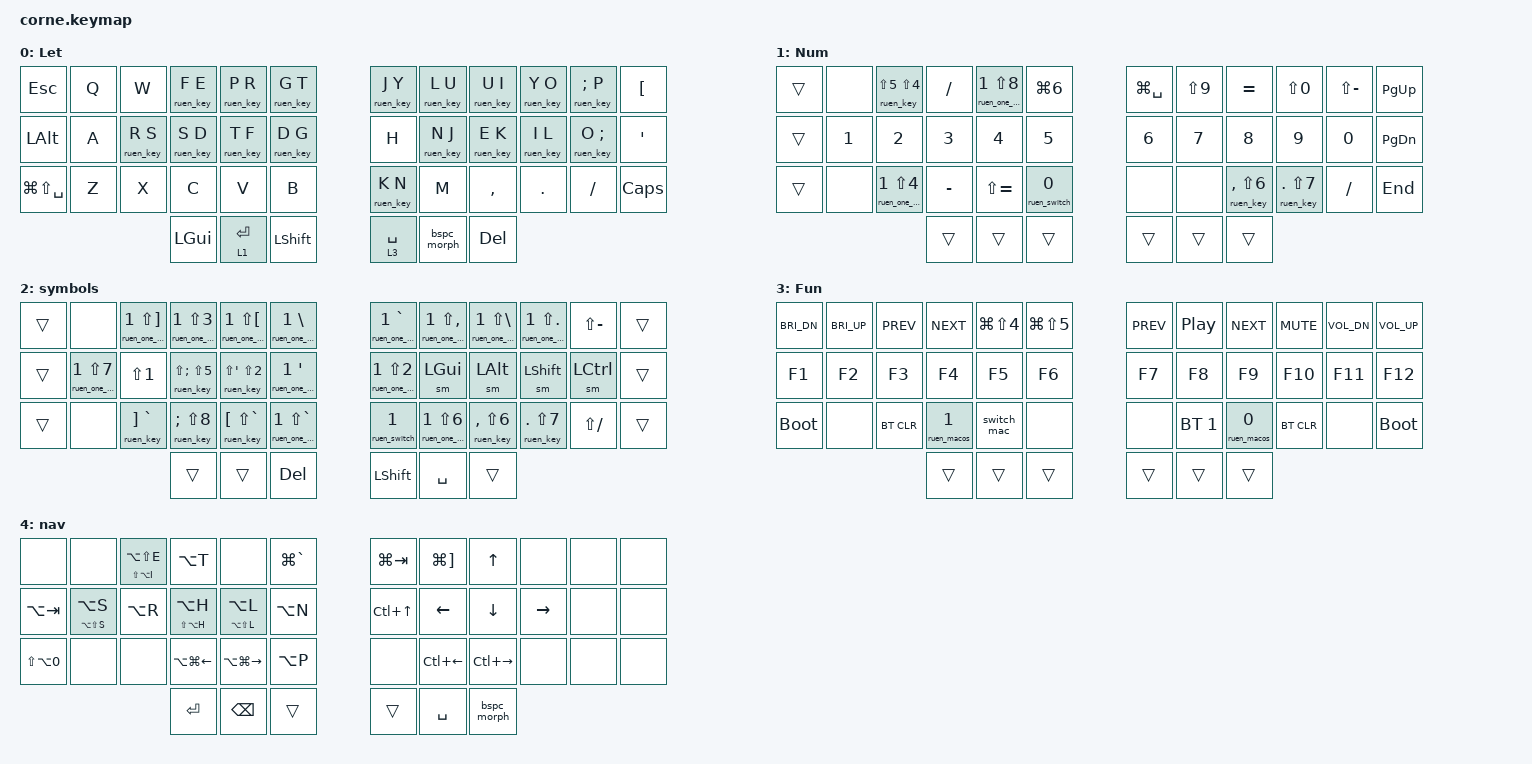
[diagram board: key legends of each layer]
#include <behaviors/ruen.dtsi>
#include <behaviors.dtsi>
#include <dt-bindings/zmk/bt.h>
#include <dt-bindings/zmk/keys.h>

/ {
    behaviors {
        ht: hold_tap {
            label = "hold_tap_letters";
            compatible = "zmk,behavior-hold-tap";
            #binding-cells = <2>;
            flavor = "tap-preferred";
            tapping-term-ms = <220>;
            quick-tap-ms = <150>;
            global-quick-tap;
            bindings = <&kp>, <&kp>;
        };

        sm: sticky_mod {
            compatible = "zmk,behavior-sticky-key";
            label = "STICKY_MOD";
            bindings = <&kp>;
            #binding-cells = <1>;
            release-after-ms = <5000>;
            quick-release;
            ignore-modifiers;
        };

        bspc_morph: bspc_morph {
            compatible = "zmk,behavior-mod-morph";
            label = "BSPC_MORPH";
            bindings = <&lt 2 BACKSPACE>, <&lt 2 LA(BACKSPACE)>;

            #binding-cells = <0>;
            mods = <(MOD_LSFT)>;
        };
    };

    combos {
        compatible = "zmk,combos";

        tab {
            bindings = <&kp TAB>;
            key-positions = <15 16 14>;
        };

        enter {
            bindings = <&kp ENTER>;
            key-positions = <31 32 33>;
        };

        comboL4 {
            bindings = <&mo 4>;
            key-positions = <38 39>;
        };

        rusym {
            bindings = <&kp RIGHT_BRACKET>;
            key-positions = <10 11>;
        };

        rusym2 {
            bindings = <&kp BACKSLASH>;
            key-positions = <1 0>;
        };

        cmd+r {
            bindings = <&kp LG(R)>;
            key-positions = <36 14>;
        };

        cmd+t {
            bindings = <&kp LG(T)>;
            key-positions = <36 16>;
        };

        cmd+n {
            bindings = <&kp LG(N)>;
            key-positions = <36 19>;
        };

        cmd+o {
            bindings = <&kp LG(O)>;
            key-positions = <36 22>;
        };

        cmd+f {
            bindings = <&kp LG(F)>;
            key-positions = <36 3>;
        };

        cmd+j {
            bindings = <&kp LG(J)>;
            key-positions = <36 6>;
        };
    };

    macros {
        ruen_to_en: ruen_to_en {
            compatible = "zmk,behavior-macro";
            #binding-cells = <0>;
            bindings = <&kp LG(N8)>;
        };

        ruen_to_ru: ruen_to_ru {
            compatible = "zmk,behavior-macro";
            #binding-cells = <0>;
            bindings = <&kp LG(N9)>;
        };

        switch_mac: switch_mac {
            compatible = "zmk,behavior-macro";
            #binding-cells = <0>;
            bindings =
                <&bt BT_NXT>,
                <&macro_wait_time 1500>,
                <&kp LA(LC(LG(F12)))>,
                <&macro_wait_time 250>,
                <&kp LA(LC(LG(F11)))>;
        };
    };

    keymap {
        compatible = "zmk,keymap";

        letters {
            display-name = "Let";
            bindings = <
&kp ESC            &kp Q  &kp W          &ruen_key F E  &ruen_key P R  &ruen_key G T     &ruen_key J Y  &ruen_key L U  &ruen_key U I  &ruen_key Y O  &ruen_key SEMICOLON P  &kp LEFT_BRACKET
&kp LALT           &kp A  &ruen_key R S  &ruen_key S D  &ruen_key T F  &ruen_key D G     &kp H          &ruen_key N J  &ruen_key E K  &ruen_key I L  &ruen_key O SEMICOLON  &kp SQT
&kp LG(LS(SPACE))  &kp Z  &kp X          &kp C          &kp V          &kp B             &ruen_key K N  &kp M          &kp COMMA      &kp DOT        &kp SLASH              &kp CAPSLOCK
                                         &kp LGUI       &lt 1 ENTER    &kp LEFT_SHIFT    &lt 3 SPACE    &bspc_morph    &kp DELETE
            >;
        };

        numbers {
            display-name = "Num";
            bindings = <
&trans  &none         &ruen_key LS(N5) LS(N4)  &kp SLASH     &ruen_one_key 1 LS(N8)  &kp LG(NUMBER_6)    &kp LG(SPACE)  &kp LS(N9)    &kp EQUAL               &kp LS(N0)               &kp LS(MINUS)  &kp PAGE_UP
&trans  &kp NUMBER_1  &kp NUMBER_2             &kp NUMBER_3  &kp NUMBER_4            &kp NUMBER_5        &kp NUMBER_6   &kp NUMBER_7  &kp NUMBER_8            &kp NUMBER_9             &kp NUMBER_0   &kp PAGE_DOWN
&trans  &none         &ruen_one_key 1 LS(N4)   &kp MINUS     &kp LS(EQUAL)           &ruen_switch 0      &none          &none         &ruen_key COMMA LS(N6)  &ruen_key PERIOD LS(N7)  &kp SLASH      &kp END
                                               &trans        &trans                  &trans              &trans         &trans        &trans
            >;
        };

        symbols {
            bindings = <
&trans  &none                   &ruen_one_key 1 LS(RIGHT_BRACKET)  &ruen_one_key 1 LS(N3)          &ruen_one_key 1 LS(LEFT_BRACKET)  &ruen_one_key 1 BACKSLASH    &ruen_one_key 1 GRAVE   &ruen_one_key 1 LS(COMMA)  &ruen_one_key 1 LS(BACKSLASH)  &ruen_one_key 1 LS(PERIOD)  &kp LS(MINUS)  &trans
&trans  &ruen_one_key 1 LS(N7)  &kp LS(N1)                         &ruen_key LS(SEMICOLON) LS(N5)  &ruen_key LS(SQT) LS(N2)          &ruen_one_key 1 SQT          &ruen_one_key 1 LS(N2)  &sm LEFT_GUI               &sm LEFT_ALT                   &sm LEFT_SHIFT              &sm LCTRL      &trans
&trans  &none                   &ruen_key RIGHT_BRACKET GRAVE      &ruen_key SEMICOLON LS(N8)      &ruen_key LEFT_BRACKET LS(GRAVE)  &ruen_one_key 1 LS(GRAVE)    &ruen_switch 1          &ruen_one_key 1 LS(N6)     &ruen_key COMMA LS(N6)         &ruen_key PERIOD LS(N7)     &kp LS(SLASH)  &trans
                                                                   &trans                          &trans                            &kp DEL                      &kp LEFT_SHIFT          &kp SPACE                  &trans
            >;
        };

        functions {
            display-name = "Fun";
            bindings = <
&kp C_BRI_DN  &kp C_BRI_UP  &kp C_PREV  &kp C_NEXT     &kp LG(LS(NUMBER_4))  &kp LG(LS(N5))    &kp C_PREV  &kp C_PP      &kp C_NEXT     &kp C_MUTE  &kp C_VOL_DN  &kp C_VOL_UP
&kp F1        &kp F2        &kp F3      &kp F4         &kp F5                &kp F6            &kp F7      &kp F8        &kp F9         &kp F10     &kp F11       &kp F12
&bootloader   &none         &bt BT_CLR  &ruen_macos 1  &switch_mac           &none             &none       &bt BT_SEL 1  &ruen_macos 0  &bt BT_CLR  &none         &bootloader
                                        &trans         &trans                &trans            &trans      &trans        &trans
            >;
        };

        nav {
            bindings = <
&none           &none                &ht LS(LA(I)) LA(LS(E))  &kp LA(T)            &none                &kp LG(GRAVE)    &kp LG(TAB)       &kp LG(RIGHT_BRACKET)  &kp UP         &none      &none  &none
&kp LA(TAB)     &ht LA(LS(S)) LA(S)  &kp LA(R)                &ht LS(LA(H)) LA(H)  &ht LA(LS(L)) LA(L)  &kp LA(N)        &kp LC(UP_ARROW)  &kp LEFT               &kp DOWN       &kp RIGHT  &none  &none
&kp LS(LA(N0))  &none                &none                    &kp LA(LG(LEFT))     &kp LA(LG(RIGHT))    &kp LA(P)        &none             &kp LC(LEFT)           &kp LC(RIGHT)  &none      &none  &none
                                                              &kp ENTER            &kp BACKSPACE        &trans           &trans            &kp SPACE              &bspc_morph
            >;
        };
    };
};
